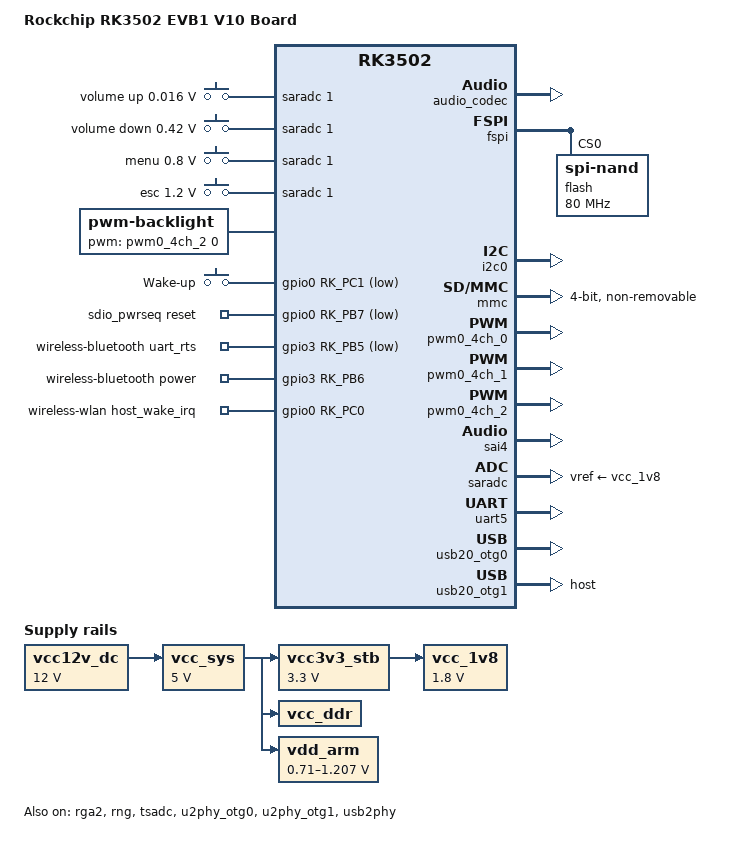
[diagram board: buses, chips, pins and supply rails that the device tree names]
// SPDX-License-Identifier: (GPL-2.0+ OR MIT)
/*
 * Copyright (c) 2024 Rockchip Electronics Co., Ltd.
 */

#include <dt-bindings/display/drm_mipi_dsi.h>
#include <dt-bindings/input/rk-input.h>
#include <dt-bindings/suspend/rockchip-rk3506.h>

/ {
	model = "Rockchip RK3502 EVB1 V10 Board";
	compatible = "rockchip,rk3502-evb1-v10", "rockchip,rk3502";

	chosen {
		bootargs = "earlycon=uart8250,mmio32,0xff0a0000 console=ttyFIQ0 ubi.mtd=5 ubi.block=0,rootfs root=/dev/ubiblock0_0 rootfstype=squashfs rootwait snd_aloop.index=7 snd_aloop.use_raw_jiffies=1";
	};

	acodec_sound: acodec-sound {
		compatible = "simple-audio-card";
		simple-audio-card,name = "rockchip,acodec";
		simple-audio-card,format = "i2s";
		simple-audio-card,mclk-fs = <1024>;
		simple-audio-card,bitclock-master = <&codec_master>;
		simple-audio-card,frame-master = <&codec_master>;
		simple-audio-card,cpu {
			sound-dai = <&sai4>;
		};
		codec_master: simple-audio-card,codec {
			sound-dai = <&audio_codec>;
		};
	};

	adc_keys: adc-keys {
		compatible = "adc-keys";
		io-channels = <&saradc 1>;
		io-channel-names = "buttons";
		keyup-threshold-microvolt = <1800000>;
		poll-interval = <100>;

		vol-up-key {
			label = "volume up";
			linux,code = <KEY_VOLUMEUP>;
			press-threshold-microvolt = <16000>;
		};

		vol-down-key {
			label = "volume down";
			linux,code = <KEY_VOLUMEDOWN>;
			press-threshold-microvolt = <420000>;
		};

		menu-key {
			label = "menu";
			linux,code = <KEY_MENU>;
			press-threshold-microvolt = <800000>;
		};

		esc-key {
			label = "esc";
			linux,code = <KEY_ESC>;
			press-threshold-microvolt = <1200000>;
		};
	};

	backlight: backlight {
		compatible = "pwm-backlight";
		pwms = <&pwm0_4ch_2 0 25000 0>;
		brightness-levels = <
			  0  20  20  21  21  22  22  23
			 23  24  24  25  25  26  26  27
			 27  28  28  29  29  30  30  31
			 31  32  32  33  33  34  34  35
			 35  36  36  37  37  38  38  39
			 40  41  42  43  44  45  46  47
			 48  49  50  51  52  53  54  55
			 56  57  58  59  60  61  62  63
			 64  65  66  67  68  69  70  71
			 72  73  74  75  76  77  78  79
			 80  81  82  83  84  85  86  87
			 88  89  90  91  92  93  94  95
			 96  97  98  99 100 101 102 103
			104 105 106 107 108 109 110 111
			112 113 114 115 116 117 118 119
			120 121 122 123 124 125 126 127
			128 129 130 131 132 133 134 135
			136 137 138 139 140 141 142 143
			144 145 146 147 148 149 150 151
			152 153 154 155 156 157 158 159
			160 161 162 163 164 165 166 167
			168 169 170 171 172 173 174 175
			176 177 178 179 180 181 182 183
			184 185 186 187 188 189 190 191
			192 193 194 195 196 197 198 199
			200 201 202 203 204 205 206 207
			208 209 210 211 212 213 214 215
			216 217 218 219 220 221 222 223
			224 225 226 227 228 229 230 231
			232 233 234 235 236 237 238 239
			240 241 242 243 244 245 246 247
			248 249 250 251 252 253 254 255
		>;
		default-brightness-level = <200>;
		status = "okay";
	};

	dsm_sound: dsm-sound {
		status = "disabled";
		compatible = "simple-audio-card";
		simple-audio-card,format = "i2s";
		simple-audio-card,mclk-fs = <256>;
		simple-audio-card,name = "rockchip,dsm-sound";
		simple-audio-card,bitclock-master = <&sndcodec>;
		simple-audio-card,frame-master = <&sndcodec>;
		sndcpu: simple-audio-card,cpu {
			sound-dai = <&sai3>;
		};
		sndcodec: simple-audio-card,codec {
			sound-dai = <&acdcdig_dsm>;
		};
	};

	es8388_sound: es8388-sound {
		status = "disabled";
		compatible = "rockchip,multicodecs-card";
		rockchip,card-name = "rockchip-es8388";
		spk-con-gpio = <&gpio1 RK_PC6 GPIO_ACTIVE_HIGH>;
		rockchip,pre-power-on-delay-ms = <30>;
		rockchip,post-power-down-delay-ms = <40>;
		rockchip,format = "i2s";
		rockchip,mclk-fs = <256>;
		rockchip,cpu = <&sai1>;
		rockchip,codec = <&es8388>;
		rockchip,audio-routing =
			"Speaker", "LOUT1",
			"Speaker", "ROUT1",
			"Speaker", "Speaker Power",
			"Speaker", "Speaker Power",
			"LINPUT1", "Main Mic",
			"LINPUT2", "Main Mic",
			"RINPUT1", "Main Mic",
			"RINPUT2", "Main Mic";
		pinctrl-names = "default";
		pinctrl-0 = <&spk_ctrl>;
	};

	fiq_debugger: fiq-debugger {
		compatible = "rockchip,fiq-debugger";
		rockchip,serial-id = <0>;
		rockchip,wake-irq = <0>;
		rockchip,irq-mode-enable = <1>;
		rockchip,baudrate = <1500000>;	/* Only 115200 and 1500000 */
		interrupts = <GIC_SPI 115 IRQ_TYPE_LEVEL_HIGH>;
	};

	gpio_keys: gpio-keys {
		compatible = "gpio-keys";
		pinctrl-names = "default";
		pinctrl-0 = <&key_wake_up>;

		wake_up: wake-up {
			label = "Wake-up";
			gpios = <&gpio0 RK_PC1 GPIO_ACTIVE_LOW>;
			linux,code = <KEY_WAKEUP>;
			wakeup-source;
		};
	};

	vcc12v_dc: vcc12v-dc {
		compatible = "regulator-fixed";
		regulator-name = "vcc12v_dc";
		regulator-always-on;
		regulator-boot-on;
		regulator-min-microvolt = <12000000>;
		regulator-max-microvolt = <12000000>;
	};

	vcc_sys: vcc-sys {
		compatible = "regulator-fixed";
		regulator-name = "vcc_sys";
		regulator-always-on;
		regulator-boot-on;
		regulator-min-microvolt = <5000000>;
		regulator-max-microvolt = <5000000>;
		vin-supply = <&vcc12v_dc>;
	};

	vcc3v3_stb: vcc3v3-stb {
		compatible = "regulator-fixed";
		regulator-name = "vcc3v3_stb";
		regulator-always-on;
		regulator-boot-on;
		regulator-min-microvolt = <3300000>;
		regulator-max-microvolt = <3300000>;
		vin-supply = <&vcc_sys>;
	};

	vcc_1v8: vcc-1v8 {
		compatible = "regulator-fixed";
		regulator-name = "vcc_1v8";
		regulator-always-on;
		regulator-boot-on;
		regulator-min-microvolt = <1800000>;
		regulator-max-microvolt = <1800000>;
		vin-supply = <&vcc3v3_stb>;
	};

	vcc_ddr: vcc-ddr {
		compatible = "regulator-fixed";
		regulator-name = "vcc_ddr";
		regulator-always-on;
		regulator-boot-on;
		vin-supply = <&vcc_sys>;
	};

	vdd_arm: vdd-arm {
		compatible = "pwm-regulator";
		pwms = <&pwm0_4ch_0 0 5000 1>;
		regulator-name = "vdd_arm";
		regulator-min-microvolt = <710000>;
		regulator-max-microvolt = <1207000>;
		regulator-init-microvolt = <1011000>;
		regulator-always-on;
		regulator-boot-on;
		regulator-settling-time-up-us = <250>;
		pwm-supply = <&vcc_sys>;
	};

	sdio_pwrseq: sdio-pwrseq {
		compatible = "mmc-pwrseq-simple";
		pinctrl-names = "default";
		pinctrl-0 = <&wifi_enable_h>;

		/*
		 * On the module itself this is one of these (depending
		 * on the actual card populated):
		 * - SDIO_RESET_L_WL_REG_ON
		 * - PDN (power down when low)
		 */
		reset-gpios = <&gpio0 RK_PB7 GPIO_ACTIVE_LOW>;
	};

	wireless-bluetooth {
		compatible = "bluetooth-platdata";
		uart_rts_gpios = <&gpio3 RK_PB5 GPIO_ACTIVE_LOW>;
		pinctrl-names = "default", "rts_gpio";
		pinctrl-0 = <&uart5m0_rtsn_pins>;
		pinctrl-1 = <&uart5_gpios>;
		BT,power_gpio    = <&gpio3 RK_PB6 GPIO_ACTIVE_HIGH>;
		status = "okay";
	};

	wireless-wlan {
		compatible = "wlan-platdata";
		rockchip,grf = <&grf>;
		pinctrl-names = "default";
		pinctrl-0 = <&wifi_wake_host>;
		wifi_chip_type = "cyw43455";
		WIFI,host_wake_irq = <&gpio0 RK_PC0 GPIO_ACTIVE_HIGH>;
		status = "okay";
	};
};

&audio_codec {
	status = "okay";
};

&cma {
	size = <0x800000>;
};

&cpu0 {
	cpu-supply = <&vdd_arm>;
};

&flexbus_fspi {
	pinctrl-names = "default";
	pinctrl-0 = <&flexbus0m1_pins &flexbus0_clk_pins
		     &flexbus0_d0_pins &flexbus0_d1_pins
		     &flexbus0_d2_pins &flexbus0_d3_pins>;
	status = "disabled";

	flash@0 {
		compatible = "jedec,spi-nor";
		reg = <0>;
		spi-max-frequency = <100000000>;
		spi-rx-bus-width = <4>;
		spi-tx-bus-width = <1>;
	};
};

&fspi {
	status = "okay";

	flash@0 {
		compatible = "spi-nand";
		reg = <0>;
		spi-max-frequency = <80000000>;
		spi-rx-bus-width = <4>;
		spi-tx-bus-width = <1>;
	};
};

&i2c0 {
	status = "okay";
	pinctrl-names = "default";
	pinctrl-0 = <&rm_io13_i2c0_scl
		     &rm_io14_i2c0_sda>;

	es8388: es8388@11 {
		status = "disabled";
		#sound-dai-cells = <0>;
		compatible = "everest,es8388", "everest,es8323";
		reg = <0x11>;
		clocks = <&mclkout_sai1>;
		clock-names = "mclk";
		assigned-clocks = <&mclkout_sai1>;
		assigned-clock-rates = <12288000>;
		pinctrl-names = "default";
		pinctrl-0 = <&rm_io8_sai1_mclk>;
	};
};

&mmc {
	bus-width = <4>;
	cap-sd-highspeed;
	no-sd;
	no-mmc;
	pinctrl-names = "default";
	pinctrl-0 = <&sdmmc_clk_pins &sdmmc_cmd_pins &sdmmc_bus4_pins>;
	ignore-pm-notify;
	keep-power-in-suspend;
	non-removable;
	mmc-pwrseq = <&sdio_pwrseq>;
	sd-uhs-sdr104;
	status = "okay";
};

&pinctrl {
	gpio-keys {
		key_wake_up: key-wake-up {
			rockchip,pins = <0 RK_PC1 RK_FUNC_GPIO &pcfg_pull_none>;
		};
	};

	sdio-pwrseq {
		wifi_enable_h: wifi-enable-h {
			rockchip,pins = <0 RK_PB7 RK_FUNC_GPIO &pcfg_pull_none>;
		};
	};

	speaker {
		spk_ctrl: spk-ctrl {
			rockchip,pins = <1 RK_PC6 RK_FUNC_GPIO &pcfg_pull_none>;
		};
	};

	wireless-bluetooth {
		uart5_gpios: uart5-gpios {
			rockchip,pins = <3 RK_PB5 RK_FUNC_GPIO &pcfg_pull_none>;
		};
	};

	wireless-wlan {
		wifi_wake_host: wifi-wake-host {
			rockchip,pins = <0 RK_PC0 RK_FUNC_GPIO &pcfg_pull_up>;
		};
	};
};

&pwm0_4ch_0 {
	pinctrl-names = "active";
	pinctrl-0 = <&rm_io21_pwm0_ch0>;
	status = "okay";
};

&pwm0_4ch_1 {
	pinctrl-names = "active";
	pinctrl-0 = <&rm_io20_pwm0_ch1>;
	status = "okay";
};

&pwm0_4ch_2 {
	pinctrl-names = "active";
	pinctrl-0 = <&rm_io3_pwm0_ch2>;
	status = "okay";
};

&rga2 {
	status = "okay";
};

&rng {
	status = "okay";
};

&rockchip_suspend {
	rockchip,sleep-mode-config = <
		(0
		| RKPM_ARMOFF_DDRPD
		| RKPM_24M_OSC_DIS
		| RKPM_32K_CLK
		| RKPM_32K_SRC_RC
		| RKPM_PWM0_CH0_REGULATOR
		)
	>;

	rockchip,apios-suspend = <
		(0
		| RKPM_PWREN_CORE_GPIO0A2 | RKPM_PWREN_CORE_ACT_LOW
		| RKPM_PWREN_SLEEP_GPIO0A0 | RKPM_PWREN_SLEEP_ACT_LOW
		)
	>;

#define GPIO0_IOC_GPIO0A_PULL_REG	0xff950200
#define GPIO0_IOC_GPIO0B_PULL_REG	0xff950204
#define GPIO0_IOC_GPIO0C_PULL_REG	0xff950208
#define IOC0_GPIO0C5_SMT_REG		0xff950408

#define GPIO0A02_PULL_Z			0x00330000
#define GPIO0A3_PULL_DOWN		0x00c00080
#define GPIO0B0_PULL_DOWN		0x00030002
#define GPIO0C5_PULL_Z			0x0c000000
#define GPIO0C5_SMT_DISABLE		0x00200000

	/* Note: support max 16 pairs */
	rockchip,sleep-io-config = <
		GPIO0_IOC_GPIO0C_PULL_REG GPIO0C5_PULL_Z    /* PWM0_CH0_CPU */
		IOC0_GPIO0C5_SMT_REG GPIO0C5_SMT_DISABLE    /* PWM0_CH0_CPU */
		GPIO0_IOC_GPIO0A_PULL_REG GPIO0A02_PULL_Z   /* PWRCTRL0, PWRCTRL1 */
		GPIO0_IOC_GPIO0A_PULL_REG GPIO0A3_PULL_DOWN /* PWM0_CH2_LCD_BL */
		GPIO0_IOC_GPIO0B_PULL_REG GPIO0B0_PULL_DOWN /* SAI1_MCLK */
	>;
};

&sai1 {
	pinctrl-names = "default", "sleep";
	pinctrl-0 = <&rm_io9_sai1_sclk
		     &rm_io10_sai1_lrck
		     &rm_io11_sai1_sdi
		     &rm_io12_sai1_sdo0>;
	pinctrl-1 = <&rm_io9_idle_pins
		     &rm_io10_idle_pins
		     &rm_io11_idle_pins
		     &rm_io12_idle_pins>;
};

&sai4 {
	status = "okay";
};

&saradc {
	vref-supply = <&vcc_1v8>;
	status = "okay";
};

&tsadc {
	status = "okay";
};

&uart5 {
	pinctrl-0 = <&uart5m0_xfer_pins &uart5m0_ctsn_pins>;
	status = "okay";
};

&u2phy_otg0 {
	status = "okay";
};

&u2phy_otg1 {
	status = "okay";
};

&usb2phy {
	status = "okay";
};

&usb20_otg0 {
	status = "okay";
};

&usb20_otg1 {
	dr_mode = "host";
	status = "okay";
};
